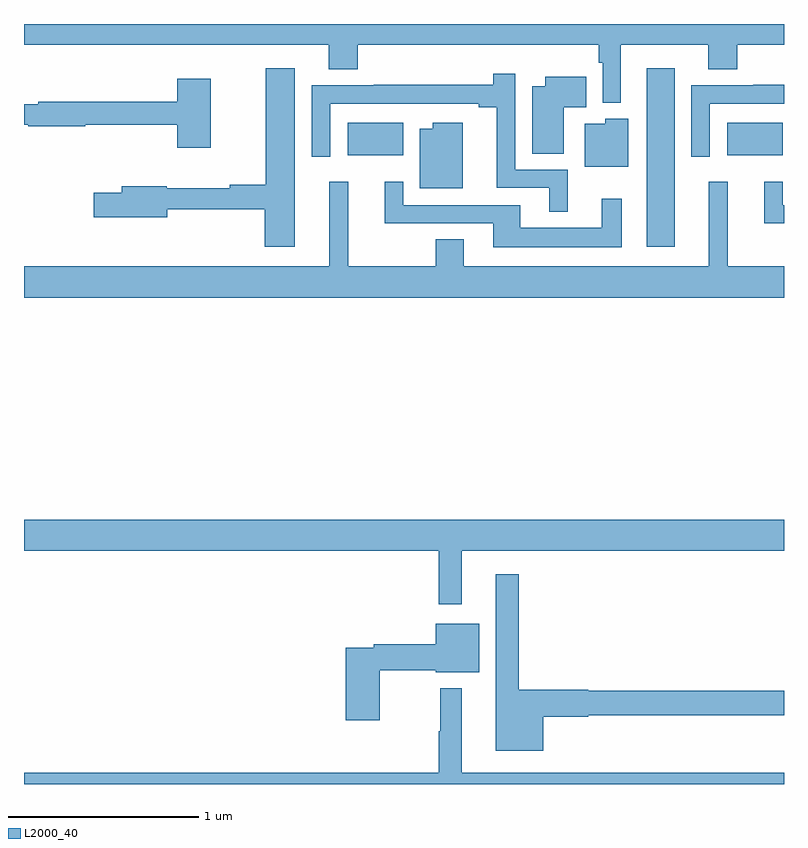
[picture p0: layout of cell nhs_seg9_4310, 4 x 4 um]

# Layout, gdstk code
import gdstk
lib = gdstk.Library(unit=1e-6, precision=1e-09)
def R(c, l, rs):  # rectangles x0, y0, x1, y1
    for r in rs: c.add(gdstk.rectangle(r[:2], r[2:], *l))
def P(c, l, *ps):  # polygons
    for p in ps: c.add(gdstk.Polygon(p, *l))
L2000_40 = (2000, 40)

nhs_seg9_4310 = lib.new_cell('nhs_seg9_4310')
R(nhs_seg9_4310, L2000_40, [(360.278,1223.328,360.424,1224.268), (358.703,1223.81,358.996,1223.98), (360.701,1223.81,360.994,1223.98)])
P(nhs_seg9_4310, L2000_40, [(360.142,1224.392),(360.602,1224.392),(360.602,1224.262),(360.755,1224.262),(360.755,1224.392),(361,1224.392),(361,1224.5),(357,1224.5),(357,1224.392),(358.604,1224.392),(358.604,1224.262),(358.757,1224.262),(358.757,1224.392),(360.025,1224.392),(360.025,1224.296),(360.045,1224.296),(360.045,1224.086),(360.142,1224.086)],
  [(358.426,1224.268),(358.273,1224.268),(358.273,1223.654),(358.084,1223.654),(358.084,1223.636),(357.75,1223.636),(357.75,1223.647),(357.515,1223.647),(357.515,1223.613),(357.366,1223.613),(357.366,1223.483),(357.754,1223.483),(357.754,1223.526),(358.268,1223.526),(358.268,1223.328),(358.426,1223.328)],
  [(359.863,1223.733),(359.586,1223.733),(359.586,1224.238),(359.47,1224.238),(359.47,1224.179),(358.84,1224.179),(358.84,1224.177),(358.515,1224.177),(358.515,1223.802),(358.611,1223.802),(358.611,1224.081),(359.393,1224.081),(359.393,1224.061),(359.489,1224.061),(359.489,1223.637),(359.765,1223.637),(359.765,1223.513),(359.863,1223.513)],
  [(359.842,1224.062),(359.96,1224.062),(359.96,1224.223),(359.744,1224.223),(359.744,1224.172),(359.675,1224.172),(359.675,1223.818),(359.842,1223.818)],
  [(357.984,1224.211),(357.806,1224.211),(357.806,1224.091),(357.076,1224.091),(357.076,1224.078),(357,1224.078),(357,1223.97),(357.022,1223.97),(357.022,1223.962),(357.322,1223.962),(357.322,1223.97),(357.806,1223.97),(357.806,1223.85),(357.984,1223.85)],
  [(360.609,1224.081),(361,1224.081),(361,1224.179),(360.838,1224.179),(360.838,1224.177),(360.513,1224.177),(360.513,1223.802),(360.609,1223.802)],
  [(360.181,1224.001),(360.06,1224.001),(360.06,1223.974),(359.951,1223.974),(359.951,1223.75),(360.181,1223.75)],
  [(359.308,1223.98),(359.15,1223.98),(359.15,1223.95),(359.084,1223.95),(359.084,1223.636),(359.308,1223.636)],
  [(361,1223.224),(360.704,1223.224),(360.704,1223.671),(360.605,1223.671),(360.605,1223.224),(359.314,1223.224),(359.314,1223.366),(359.167,1223.366),(359.167,1223.224),(358.706,1223.224),(358.706,1223.671),(358.607,1223.671),(358.607,1223.224),(357,1223.224),(357,1223.06),(361,1223.06)],
  [(361,1223.547),(360.993,1223.547),(360.993,1223.671),(360.896,1223.671),(360.896,1223.451),(361,1223.451)],
  [(360.145,1223.581),(360.041,1223.581),(360.041,1223.428),(359.611,1223.428),(359.611,1223.547),(358.995,1223.547),(358.995,1223.671),(358.898,1223.671),(358.898,1223.451),(359.471,1223.451),(359.471,1223.324),(360.145,1223.324)],
  [(359.305,1221.728),(361,1221.728),(361,1221.892),(357,1221.892),(357,1221.728),(359.184,1221.728),(359.184,1221.447),(359.305,1221.447)],
  [(359.734,1220.854),(359.97,1220.854),(359.97,1220.862),(361,1220.862),(361,1220.99),(359.97,1220.99),(359.97,1220.996),(359.605,1220.996),(359.605,1221.604),(359.483,1221.604),(359.483,1220.675),(359.734,1220.675)],
  [(358.872,1221.1),(359.168,1221.1),(359.168,1221.089),(359.395,1221.089),(359.395,1221.343),(359.168,1221.343),(359.168,1221.236),(358.84,1221.236),(358.84,1221.216),(358.694,1221.216),(358.694,1220.835),(358.872,1220.835)],
  [(361,1220.56),(359.305,1220.56),(359.305,1221.004),(359.191,1221.004),(359.191,1220.777),(359.184,1220.777),(359.184,1220.56),(357,1220.56),(357,1220.5),(361,1220.5)])

lib.write_gds('nhs_seg9_4310.gds')
